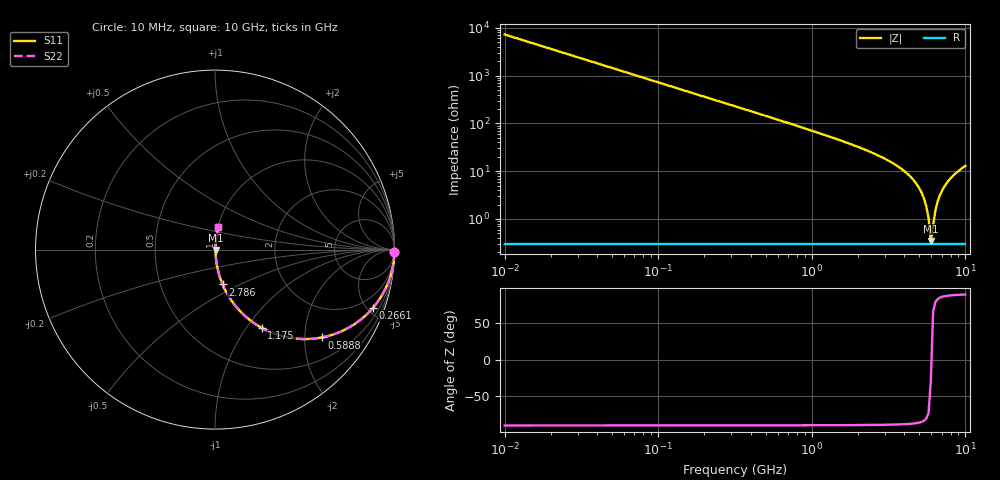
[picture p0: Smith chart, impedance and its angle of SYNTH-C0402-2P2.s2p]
! Manufacturer: Synthetic (not a real part)
! Synthetic example generated by SmithChart.Online from an equivalent circuit.
! Not measured data and not a manufacturer file.
! Circuit: C 2.2e-12 F, ESL 3.2e-10 H, ESR 0.3 ohm in series
! Fixture: series-through
# MHZ S RI R 50
! f S11 S21 S12 S22
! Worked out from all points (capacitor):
!   201 points, 10 MHz to 10 GHz, reference 50 ohm
!   read as one part in series: C = 2.2 pF near 10.35 MHz
!   lowest |Z| = 344 mohm at 5.957 GHz (marker M1)
!   series resonance near 5.999 GHz, so ESL is about 320 pH
!   S11 on the Smith chart (normalised r, x): 10 MHz: open; 266.1 MHz: 1.01, -5.43; 588.8 MHz: 1.01, -2.43; 1.175 GHz: 1.01, -1.18; 2.786 GHz: 1.01, -0.41; 10 GHz: 1.01, +0.26
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10  0.9998 -0.0138  0.000192 0.0138  0.000192 0.0138  0.9998 -0.0138
32.35937  0.998 -0.0446  0.002 0.0446  0.002 0.0446  0.998 -0.0446
101.1579  0.9808 -0.1372  0.0192 0.1372  0.0192 0.1372  0.9808 -0.1372
266.0725  0.8802 -0.3242  0.1198 0.3242  0.1198 0.3242  0.8802 -0.3242
316.2278  0.8385 -0.3673  0.1615 0.3673  0.1615 0.3673  0.8385 -0.3673
588.8437  0.5966 -0.4893  0.4034 0.4893  0.4034 0.4893  0.5966 -0.4893
1023.293  0.321 -0.4647  0.679 0.4647  0.679 0.4647  0.321 -0.4647
1174.898  0.2607 -0.4365  0.7393 0.4365  0.7393 0.4365  0.2607 -0.4365
1778.279  0.123 -0.3244  0.877 0.3244  0.877 0.3244  0.123 -0.3244
2786.121  0.0425 -0.1944  0.9575 0.1944  0.9575 0.1944  0.0425 -0.1944
3198.895  0.0283 -0.1568  0.9717 0.1568  0.9717 0.1568  0.0283 -0.1568
4216.965  0.0104 -0.0856  0.9896 0.0856  0.9896 0.0856  0.0104 -0.0856
5011.872  0.00487 -0.0432  0.9951 0.0432  0.9951 0.0432  0.00487 -0.0432
5370.318  0.0037 -0.0266  0.9963 0.0266  0.9963 0.0266  0.0037 -0.0266
5559.043  0.00333 -0.0182  0.9967 0.0182  0.9967 0.0182  0.00333 -0.0182
5754.399  0.00309 -0.00996  0.9969 0.00996  0.9969 0.00996  0.00309 -0.00996
5956.621  0.00299 -0.00167  0.997 0.00167  0.997 0.00167  0.00299 -0.00167
6382.635  0.00321 0.0149  0.9968 -0.0149  0.9968 -0.0149  0.00321 0.0149
6606.934  0.00353 0.0232  0.9965 -0.0232  0.9965 -0.0232  0.00353 0.0232
6839.116  0.00399 0.0315  0.996 -0.0315  0.996 -0.0315  0.00399 0.0315
7852.356  0.00726 0.0651  0.9927 -0.0651  0.9927 -0.0651  0.00726 0.0651
10000  0.0191 0.1259  0.9809 -0.1259  0.9809 -0.1259  0.0191 0.1259
